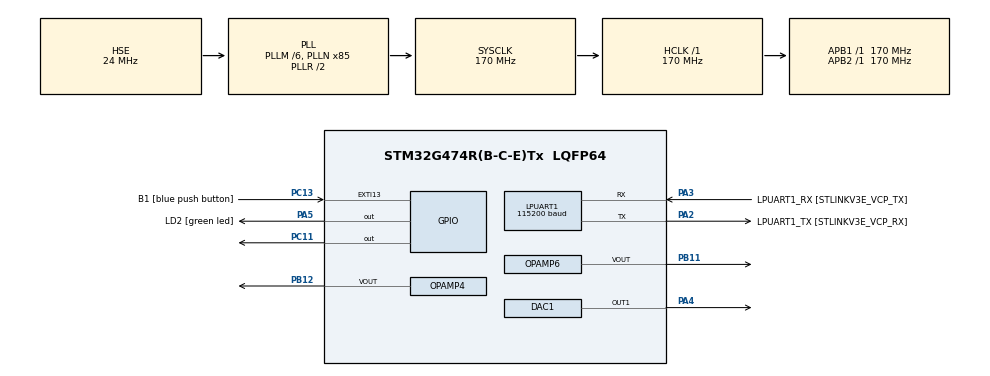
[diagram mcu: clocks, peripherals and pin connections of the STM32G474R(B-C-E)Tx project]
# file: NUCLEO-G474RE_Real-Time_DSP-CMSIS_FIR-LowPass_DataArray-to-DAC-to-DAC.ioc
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Mcu.Family=STM32G4
RCC.CortexFreq_Value=170000000
Dma.DAC3_CH1.0.Polarity=HAL_DMAMUX_REQ_GEN_RISING
Dma.DAC3_CH1.0.MemInc=DMA_MINC_ENABLE
PA14.GPIO_Label=T_SWCLK
Dma.DAC3_CH1.0.PeriphInc=DMA_PINC_DISABLE
LPUART1.WordLength=UART_WORDLENGTH_8B
PC13.GPIO_Label=B1 [blue push button]
PB11.Signal=OPAMP6_VOUT
RCC.SYSCLKSource=RCC_SYSCLKSOURCE_PLLCLK
ProjectManager.StackSize=0x400
Dma.DAC3_CH1.0.MemDataAlignment=DMA_MDATAALIGN_WORD
Dma.DAC3_CH1.0.SyncPolarity=HAL_DMAMUX_SYNC_NO_EVENT
Dma.DAC3_CH1.0.SyncEnable=DISABLE
HRTIM1.NumberInterruptRequests_Master-MasterTimer=1
HRTIM1.Periode_MASTER=54400
RCC.HCLKFreq_Value=170000000
RCC.APB2TimFreq_Value=170000000
DAC3.DAC_Trigger_OUT1-DAC_OUT1_Int=DAC_TRIGGER_T6_TRGO
RCC.AHBFreq_Value=170000000
VP_HRTIM1_VS_hrtimMasterTimerNoOutput.Mode=MasterTimer
NVIC.EXTI15_10_IRQn=true\:0\:0\:false\:false\:true\:true\:true
RCC.HSE_VALUE=24000000
PB3.Mode=Trace_Asynchronous_SW
OPAMP6.PowerMode=OPAMP_POWERMODE_HIGHSPEED
RCC.ADC12Freq_Value=170000000
RCC.RTCClockSelection=RCC_RTCCLKSOURCE_LSE
VP_DAC3_VS_DACI1.Mode=DAC_OUT1_Int
PC14-OSC32_IN.Mode=LSE-External-Oscillator
PA14.Mode=Trace_Asynchronous_SW
HRTIM1.PrescalerRatio_MASTER=HRTIM_PRESCALERRATIO_MUL16
VP_SYS_VS_DBSignals.Mode=DisableDeadBatterySignals
OPAMP4.PowerMode=OPAMP_POWERMODE_HIGHSPEED
Mcu.Package=LQFP64
PB12.Mode=Follower-DAC_OUT2-INP
Dma.DAC3_CH1.0.Mode=DMA_CIRCULAR
DAC1.DAC_HighFrequency_OUT1-DAC_OUT1=DAC_HIGH_FREQUENCY_INTERFACE_MODE_ABOVE_160MHZ
TIM6.PeriodNoDither=5-1
PA2.GPIO_Label=LPUART1_TX [STLINKV3E_VCP_RX]
RCC.APB1TimFreq_Value=170000000
HRTIM1.InterruptRequests1_Master=HRTIM_MASTER_IT_MREP
PF1-OSC_OUT.Mode=HSE-External-Oscillator
Dma.Request0=DAC3_CH1
PF1-OSC_OUT.Signal=RCC_OSC_OUT
RCC.HSI48_VALUE=48000000
PA3.Signal=LPUART1_RX
PB3.GPIO_Label=T_SWO
RCC.PLLSourceVirtual=RCC_PLLSOURCE_HSE
PC15-OSC32_OUT.Mode=LSE-External-Oscillator
PC13.Signal=GPXTI13
PC11.Signal=GPIO_Output
TIM6.Prescaler=17-1
VP_TIM6_VS_ClockSourceINT.Mode=Enable_Timer
RCC.EXTERNAL_CLOCK_VALUE=12288000
PC14-OSC32_IN.Signal=RCC_OSC32_IN
Dma.DAC3_CH1.0.Instance=DMA1_Channel1
PA13.Signal=SYS_JTMS-SWDIO
PA3.Mode=Asynchronous
Dma.DAC3_CH1.0.Direction=DMA_MEMORY_TO_PERIPH
DAC4.DAC_HighFrequency_OUT1-DAC_OUT1_Int=DAC_HIGH_FREQUENCY_INTERFACE_MODE_ABOVE_160MHZ
PB11.Mode=Follower-DAC_OUT2-INP
HRTIM1.RepetitionUpdate-MasterTimer=HRTIM_UPDATEONREPETITION_DISABLED
ProjectManager.TargetToolchain=STM32CubeIDE
SH.COMP_DAC11_group.0=DAC1_OUT1,DAC_OUT1
VP_DAC4_VS_DACI1.Mode=DAC_OUT1_Int
RCC.USBFreq_Value=170000000
PC15-OSC32_OUT.Signal=RCC_OSC32_OUT
PF0-OSC_IN.Mode=HSE-External-Oscillator
Dma.DAC3_CH1.0.EventEnable=DISABLE
PA5.Signal=GPIO_Output
Dma.DAC3_CH1.0.SyncRequestNumber=1
board=NUCLEO-G474RE
NVIC.HRTIM1_Master_IRQn=true\:0\:0\:false\:false\:true\:true\:true
RCC.VCOOutputFreq_Value=340000000
RCC.ADC345Freq_Value=170000000
RCC.APB2Freq_Value=170000000
TIM6.TIM_MasterOutputTrigger=TIM_TRGO_UPDATE
Dma.DAC3_CH1.0.SignalID=NONE
PA13.Mode=Trace_Asynchronous_SW
Mcu.Name=STM32G474R(B-C-E)Tx
LPUART1.BaudRate=115200
PA13.GPIO_Label=T_SWDIO
PA2.Signal=LPUART1_TX
Dma.DAC3_CH1.0.PeriphDataAlignment=DMA_PDATAALIGN_WORD
Dma.DAC3_CH1.0.Priority=DMA_PRIORITY_HIGH
PB3.Signal=SYS_JTDO-SWO
PA4.Signal=COMP_DAC11_group
RCC.SYSCLKFreq_VALUE=170000000
DAC3.DAC_HighFrequency_OUT1-DAC_OUT1_Int=DAC_HIGH_FREQUENCY_INTERFACE_MODE_ABOVE_160MHZ
PA5.GPIO_Label=LD2 [green led]
Dma.DAC3_CH1.0.RequestNumber=1
PA14.Signal=SYS_JTCK-SWCLK
ProjectManager.HeapSize=0x200
RCC.HSI_VALUE=16000000
NVIC.PriorityGroup=NVIC_PRIORITYGROUP_4
RCC.PLLM=RCC_PLLM_DIV6
RCC.PLLN=85
Dma.DAC3_CH1.0.SyncSignalID=NONE
PA2.Mode=Asynchronous
NVIC.DMA1_Channel1_IRQn=true\:0\:0\:false\:false\:true\:false\:true
PF0-OSC_IN.Signal=RCC_OSC_IN
RCC.APB1Freq_Value=170000000
PB12.Signal=OPAMP4_VOUT
PA3.GPIO_Label=LPUART1_RX [STLINKV3E_VCP_TX]

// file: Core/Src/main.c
/* USER CODE BEGIN Header */
/**
  ******************************************************************************
  * @file           : main.c
  * @brief          : Main program body
  ******************************************************************************
  * @attention
  *
  * <h2><center>&copy; Copyright (c) 2021 STMicroelectronics.
  * All rights reserved.</center></h2>
  *
  * This software component is licensed by ST under BSD 3-Clause license,
  * the "License"; You may not use this file except in compliance with the
  * License. You may obtain a copy of the License at:
  *                        opensource.org/licenses/BSD-3-Clause
  *
  ******************************************************************************
  */
/* USER CODE END Header */
#include "main.h"

/* USER CODE BEGIN Includes */

#include "waveforms.h"
#include "arm_math.h"

/* USER CODE END Includes */

/* USER CODE BEGIN PTD */

arm_fir_instance_f32 FIR_F32_Struct;

/* USER CODE END PTD */

/* USER CODE BEGIN PD */

#define ARM_MATH_CM4

/* USER CODE END PD */

DAC_HandleTypeDef hdac1;
DAC_HandleTypeDef hdac3;
DAC_HandleTypeDef hdac4;
DMA_HandleTypeDef hdma_dac3_ch1;

HRTIM_HandleTypeDef hhrtim1;

UART_HandleTypeDef hlpuart1;

OPAMP_HandleTypeDef hopamp4;
OPAMP_HandleTypeDef hopamp6;

TIM_HandleTypeDef htim6;

/* USER CODE BEGIN PV */

uint32_t CPU_Freq, HR_Master_mul, HRTIM_Master_per, HRTIM_Master_Freq;
uint32_t TIM6_PSC, TIM6_ARR, TIM6_Freq;

uint32_t sampling_rate, sampling_pt_cntr;
//int16_t sampling_pt;
q15_t sampling_pt;

arm_fir_instance_q15 FIR_Q15_Struct;
q15_t Q15_FIR_Output, firStateQ15[NUM_FIR_TAPS_Q15 + Sample_SIZE];

/* USER CODE END PV */

void SystemClock_Config(void);
static void MX_GPIO_Init(void);
static void MX_DMA_Init(void);
static void MX_LPUART1_UART_Init(void);
static void MX_TIM6_Init(void);
static void MX_DAC3_Init(void);
static void MX_OPAMP6_Init(void);
static void MX_DAC4_Init(void);
static void MX_OPAMP4_Init(void);
static void MX_HRTIM1_Init(void);
static void MX_DAC1_Init(void);
/* USER CODE BEGIN PFP */

void VT_AppendData_CMSIS(void);
void VT_HRTIM_Master_FreqCalc(void);

/* USER CODE END PFP */

int main(void)
{

  /* MCU Configuration--------------------------------------------------------*/

  /* Reset of all peripherals, Initializes the Flash interface and the Systick. */
  HAL_Init();

  /* Configure the system clock */
  SystemClock_Config();

  /* Initialize all configured peripherals */
  MX_GPIO_Init();
  MX_DMA_Init();
  MX_LPUART1_UART_Init();
  MX_TIM6_Init();
  MX_DAC3_Init();
  MX_OPAMP6_Init();
  MX_DAC4_Init();
  MX_OPAMP4_Init();
  MX_HRTIM1_Init();
  MX_DAC1_Init();
  /* USER CODE BEGIN 2 */

  CPU_Freq = HAL_RCC_GetHCLKFreq();

  VT_HRTIM_Master_FreqCalc();

  TIM6_Freq = CPU_Freq / (TIM6_PSC * TIM6_ARR);

  if ((TIM6_Freq % HRTIM_Master_Freq) != 0)
  {
	  Error_Handler();
  }

  sampling_rate = TIM6_Freq / HRTIM_Master_Freq;

  for (uint16_t cntr = 0; cntr < MySine2000_SIZE; cntr++)
  {
  	MySine2000[cntr] += 682;
  	MySine2000[cntr] += MySine200[cntr % MySine200_SIZE];
  }

  /**
   * @brief  Initialization function for the Q15 FIR filter.
   * @param[in,out] S          points to an instance of the Q15 FIR filter structure.
   * @param[in]     numTaps    Number of filter coefficients in the filter. Must be even and greater than or equal to 4.
   * @param[in]     pCoeffs    points to the filter coefficients.
   * @param[in]     pState     points to the state buffer.
   * @param[in]     blockSize  number of samples that are processed at a time.
   * @return     The function returns either
   * <code>ARM_MATH_SUCCESS</code> if initialization was successful or
   * <code>ARM_MATH_ARGUMENT_ERROR</code> if <code>numTaps</code> is not a supported value.
   */
//  arm_status arm_fir_init_q15(
//        arm_fir_instance_q15 * S,
//        uint16_t numTaps,
//  const q15_t * pCoeffs,
//        q15_t * pState,
//        uint32_t blockSize);

  arm_fir_init_q15(&FIR_Q15_Struct, 6, aFilterCoeffB, firStateQ15, Sample_SIZE); // https://arm-software.github.io/CMSIS_5/DSP/html/group__FIR.html#gaf4bfa7e20520f3b6e9f03a52ad6d0e41

	/*##- Enable DAC Channel and associated DMA ##############################*/
	if(HAL_OK != HAL_DAC_Start_DMA(&hdac3, DAC_CHANNEL_1,
				   (uint32_t*)MySine2000, MySine2000_SIZE, DAC_ALIGN_12B_R))
	{
		/* Start DMA Error */
		Error_Handler();
	}

	/*##- Start OPAMP    #####################################################*/
	/* Enable OPAMP */
	if(HAL_OK != HAL_OPAMP_Start(&hopamp6))
	{
		Error_Handler();
	}

	/*##- Enable DAC Channel ##############################*/
	if(HAL_OK != HAL_DAC_Start(&hdac4, DAC_CHANNEL_1))
	{
		/* Start Error */
		Error_Handler();
	}

	/*##- Start OPAMP    #####################################################*/
	/* Enable OPAMP */
	if(HAL_OK != HAL_OPAMP_Start(&hopamp4))
	{
		Error_Handler();
	}

	/*##- Enable DAC Channel ##############################*/
	if(HAL_OK != HAL_DAC_Start(&hdac1, DAC_CHANNEL_1))
	{
		/* Start Error */
		Error_Handler();
	}

  /*##- Enable TIM peripheral counter ######################################*/
  if(HAL_OK != HAL_TIM_Base_Start(&htim6))
  {
  	Error_Handler();
  }

  if(HAL_OK != HAL_HRTIM_WaveformCounterStart_IT(&hhrtim1, HRTIM_TIMERID_MASTER))
  {
  	Error_Handler();
  }

//  HAL_GPIO_WritePin(GPIOA, GPIO_PIN_5, SET);
  /* USER CODE END 2 */

  /* Infinite loop */
  while (1)
  {

  }
}

void SystemClock_Config(void)
{
  RCC_OscInitTypeDef RCC_OscInitStruct = {0};
  RCC_ClkInitTypeDef RCC_ClkInitStruct = {0};
  RCC_PeriphCLKInitTypeDef PeriphClkInit = {0};

  /** Configure the main internal regulator output voltage
  */
  HAL_PWREx_ControlVoltageScaling(PWR_REGULATOR_VOLTAGE_SCALE1_BOOST);
  /** Initializes the RCC Oscillators according to the specified parameters
  * in the RCC_OscInitTypeDef structure.
  */
  RCC_OscInitStruct.OscillatorType = RCC_OSCILLATORTYPE_HSE;
  RCC_OscInitStruct.HSEState = RCC_HSE_ON;
  RCC_OscInitStruct.PLL.PLLState = RCC_PLL_ON;
  RCC_OscInitStruct.PLL.PLLSource = RCC_PLLSOURCE_HSE;
  RCC_OscInitStruct.PLL.PLLM = RCC_PLLM_DIV6;
  RCC_OscInitStruct.PLL.PLLN = 85;
  RCC_OscInitStruct.PLL.PLLP = RCC_PLLP_DIV2;
  RCC_OscInitStruct.PLL.PLLQ = RCC_PLLQ_DIV2;
  RCC_OscInitStruct.PLL.PLLR = RCC_PLLR_DIV2;
  if (HAL_RCC_OscConfig(&RCC_OscInitStruct) != HAL_OK)
  {
    Error_Handler();
  }
  /** Initializes the CPU, AHB and APB buses clocks
  */
  RCC_ClkInitStruct.ClockType = RCC_CLOCKTYPE_HCLK|RCC_CLOCKTYPE_SYSCLK
                              |RCC_CLOCKTYPE_PCLK1|RCC_CLOCKTYPE_PCLK2;
  RCC_ClkInitStruct.SYSCLKSource = RCC_SYSCLKSOURCE_PLLCLK;
  RCC_ClkInitStruct.AHBCLKDivider = RCC_SYSCLK_DIV1;
  RCC_ClkInitStruct.APB1CLKDivider = RCC_HCLK_DIV1;
  RCC_ClkInitStruct.APB2CLKDivider = RCC_HCLK_DIV1;

  if (HAL_RCC_ClockConfig(&RCC_ClkInitStruct, FLASH_LATENCY_4) != HAL_OK)
  {
    Error_Handler();
  }
  /** Initializes the peripherals clocks
  */
  PeriphClkInit.PeriphClockSelection = RCC_PERIPHCLK_LPUART1;
  PeriphClkInit.Lpuart1ClockSelection = RCC_LPUART1CLKSOURCE_PCLK1;
  if (HAL_RCCEx_PeriphCLKConfig(&PeriphClkInit) != HAL_OK)
  {
    Error_Handler();
  }
}

static void MX_DAC1_Init(void)
{

  DAC_ChannelConfTypeDef sConfig = {0};

  /** DAC Initialization
  */
  hdac1.Instance = DAC1;
  if (HAL_DAC_Init(&hdac1) != HAL_OK)
  {
    Error_Handler();
  }
  /** DAC channel OUT1 config
  */
  sConfig.DAC_HighFrequency = DAC_HIGH_FREQUENCY_INTERFACE_MODE_ABOVE_160MHZ;
  sConfig.DAC_DMADoubleDataMode = DISABLE;
  sConfig.DAC_SignedFormat = DISABLE;
  sConfig.DAC_SampleAndHold = DAC_SAMPLEANDHOLD_DISABLE;
  sConfig.DAC_Trigger = DAC_TRIGGER_NONE;
  sConfig.DAC_Trigger2 = DAC_TRIGGER_NONE;
  sConfig.DAC_OutputBuffer = DAC_OUTPUTBUFFER_ENABLE;
  sConfig.DAC_ConnectOnChipPeripheral = DAC_CHIPCONNECT_EXTERNAL;
  sConfig.DAC_UserTrimming = DAC_TRIMMING_FACTORY;
  if (HAL_DAC_ConfigChannel(&hdac1, &sConfig, DAC_CHANNEL_1) != HAL_OK)
  {
    Error_Handler();
  }

}

static void MX_DAC3_Init(void)
{

  DAC_ChannelConfTypeDef sConfig = {0};

  /** DAC Initialization
  */
  hdac3.Instance = DAC3;
  if (HAL_DAC_Init(&hdac3) != HAL_OK)
  {
    Error_Handler();
  }
  /** DAC channel OUT1 config
  */
  sConfig.DAC_HighFrequency = DAC_HIGH_FREQUENCY_INTERFACE_MODE_ABOVE_160MHZ;
  sConfig.DAC_DMADoubleDataMode = DISABLE;
  sConfig.DAC_SignedFormat = DISABLE;
  sConfig.DAC_SampleAndHold = DAC_SAMPLEANDHOLD_DISABLE;
  sConfig.DAC_Trigger = DAC_TRIGGER_T6_TRGO;
  sConfig.DAC_Trigger2 = DAC_TRIGGER_NONE;
  sConfig.DAC_OutputBuffer = DAC_OUTPUTBUFFER_DISABLE;
  sConfig.DAC_ConnectOnChipPeripheral = DAC_CHIPCONNECT_INTERNAL;
  sConfig.DAC_UserTrimming = DAC_TRIMMING_FACTORY;
  if (HAL_DAC_ConfigChannel(&hdac3, &sConfig, DAC_CHANNEL_1) != HAL_OK)
  {
    Error_Handler();
  }

}

static void MX_DAC4_Init(void)
{

  DAC_ChannelConfTypeDef sConfig = {0};

  /** DAC Initialization
  */
  hdac4.Instance = DAC4;
  if (HAL_DAC_Init(&hdac4) != HAL_OK)
  {
    Error_Handler();
  }
  /** DAC channel OUT1 config
  */
  sConfig.DAC_HighFrequency = DAC_HIGH_FREQUENCY_INTERFACE_MODE_ABOVE_160MHZ;
  sConfig.DAC_DMADoubleDataMode = DISABLE;
  sConfig.DAC_SignedFormat = DISABLE;
  sConfig.DAC_SampleAndHold = DAC_SAMPLEANDHOLD_DISABLE;
  sConfig.DAC_Trigger = DAC_TRIGGER_NONE;
  sConfig.DAC_Trigger2 = DAC_TRIGGER_NONE;
  sConfig.DAC_OutputBuffer = DAC_OUTPUTBUFFER_DISABLE;
  sConfig.DAC_ConnectOnChipPeripheral = DAC_CHIPCONNECT_INTERNAL;
  sConfig.DAC_UserTrimming = DAC_TRIMMING_FACTORY;
  if (HAL_DAC_ConfigChannel(&hdac4, &sConfig, DAC_CHANNEL_1) != HAL_OK)
  {
    Error_Handler();
  }

}

static void MX_HRTIM1_Init(void)
{

  HRTIM_TimeBaseCfgTypeDef pTimeBaseCfg = {0};
  HRTIM_TimerCfgTypeDef pTimerCfg = {0};

  hhrtim1.Instance = HRTIM1;
  hhrtim1.Init.HRTIMInterruptResquests = HRTIM_IT_NONE;
  hhrtim1.Init.SyncOptions = HRTIM_SYNCOPTION_NONE;
  if (HAL_HRTIM_Init(&hhrtim1) != HAL_OK)
  {
    Error_Handler();
  }
  if (HAL_HRTIM_DLLCalibrationStart(&hhrtim1, HRTIM_CALIBRATIONRATE_3) != HAL_OK)
  {
    Error_Handler();
  }
  if (HAL_HRTIM_PollForDLLCalibration(&hhrtim1, 10) != HAL_OK)
  {
    Error_Handler();
  }
  pTimeBaseCfg.Period = 54400;
  pTimeBaseCfg.RepetitionCounter = 0x00;
  pTimeBaseCfg.PrescalerRatio = HRTIM_PRESCALERRATIO_MUL16;
  pTimeBaseCfg.Mode = HRTIM_MODE_CONTINUOUS;
  if (HAL_HRTIM_TimeBaseConfig(&hhrtim1, HRTIM_TIMERINDEX_MASTER, &pTimeBaseCfg) != HAL_OK)
  {
    Error_Handler();
  }
  pTimerCfg.InterruptRequests = HRTIM_MASTER_IT_MREP;
  pTimerCfg.DMARequests = HRTIM_MASTER_DMA_NONE;
  pTimerCfg.DMASrcAddress = 0x0000;
  pTimerCfg.DMADstAddress = 0x0000;
  pTimerCfg.DMASize = 0x1;
  pTimerCfg.HalfModeEnable = HRTIM_HALFMODE_DISABLED;
  pTimerCfg.InterleavedMode = HRTIM_INTERLEAVED_MODE_DISABLED;
  pTimerCfg.StartOnSync = HRTIM_SYNCSTART_DISABLED;
  pTimerCfg.ResetOnSync = HRTIM_SYNCRESET_DISABLED;
  pTimerCfg.DACSynchro = HRTIM_DACSYNC_NONE;
  pTimerCfg.PreloadEnable = HRTIM_PRELOAD_DISABLED;
  pTimerCfg.UpdateGating = HRTIM_UPDATEGATING_INDEPENDENT;
  pTimerCfg.BurstMode = HRTIM_TIMERBURSTMODE_MAINTAINCLOCK;
  pTimerCfg.RepetitionUpdate = HRTIM_UPDATEONREPETITION_DISABLED;
  pTimerCfg.ReSyncUpdate = HRTIM_TIMERESYNC_UPDATE_UNCONDITIONAL;

  if (HAL_HRTIM_WaveformTimerConfig(&hhrtim1, HRTIM_TIMERINDEX_MASTER, &pTimerCfg) != HAL_OK)
  {
    Error_Handler();
  }

}

static void MX_LPUART1_UART_Init(void)
{

  hlpuart1.Instance = LPUART1;
  hlpuart1.Init.BaudRate = 115200;
  hlpuart1.Init.WordLength = UART_WORDLENGTH_8B;
  hlpuart1.Init.StopBits = UART_STOPBITS_1;
  hlpuart1.Init.Parity = UART_PARITY_NONE;
  hlpuart1.Init.Mode = UART_MODE_TX_RX;
  hlpuart1.Init.HwFlowCtl = UART_HWCONTROL_NONE;
  hlpuart1.Init.OneBitSampling = UART_ONE_BIT_SAMPLE_DISABLE;
  hlpuart1.Init.ClockPrescaler = UART_PRESCALER_DIV1;
  hlpuart1.AdvancedInit.AdvFeatureInit = UART_ADVFEATURE_NO_INIT;
  if (HAL_UART_Init(&hlpuart1) != HAL_OK)
  {
    Error_Handler();
  }
  if (HAL_UARTEx_SetTxFifoThreshold(&hlpuart1, UART_TXFIFO_THRESHOLD_1_8) != HAL_OK)
  {
    Error_Handler();
  }
  if (HAL_UARTEx_SetRxFifoThreshold(&hlpuart1, UART_RXFIFO_THRESHOLD_1_8) != HAL_OK)
  {
    Error_Handler();
  }
  if (HAL_UARTEx_DisableFifoMode(&hlpuart1) != HAL_OK)
  {
    Error_Handler();
  }

}

static void MX_OPAMP4_Init(void)
{

  hopamp4.Instance = OPAMP4;
  hopamp4.Init.PowerMode = OPAMP_POWERMODE_HIGHSPEED;
  hopamp4.Init.Mode = OPAMP_FOLLOWER_MODE;
  hopamp4.Init.NonInvertingInput = OPAMP_NONINVERTINGINPUT_DAC;
  hopamp4.Init.InternalOutput = DISABLE;
  hopamp4.Init.TimerControlledMuxmode = OPAMP_TIMERCONTROLLEDMUXMODE_DISABLE;
  hopamp4.Init.UserTrimming = OPAMP_TRIMMING_FACTORY;
  if (HAL_OPAMP_Init(&hopamp4) != HAL_OK)
  {
    Error_Handler();
  }

}

static void MX_OPAMP6_Init(void)
{

  hopamp6.Instance = OPAMP6;
  hopamp6.Init.PowerMode = OPAMP_POWERMODE_HIGHSPEED;
  hopamp6.Init.Mode = OPAMP_FOLLOWER_MODE;
  hopamp6.Init.NonInvertingInput = OPAMP_NONINVERTINGINPUT_DAC;
  hopamp6.Init.InternalOutput = DISABLE;
  hopamp6.Init.TimerControlledMuxmode = OPAMP_TIMERCONTROLLEDMUXMODE_DISABLE;
  hopamp6.Init.UserTrimming = OPAMP_TRIMMING_FACTORY;
  if (HAL_OPAMP_Init(&hopamp6) != HAL_OK)
  {
    Error_Handler();
  }

}

static void MX_TIM6_Init(void)
{

  TIM_MasterConfigTypeDef sMasterConfig = {0};

  htim6.Instance = TIM6;
  htim6.Init.Prescaler = 17-1;
  htim6.Init.CounterMode = TIM_COUNTERMODE_UP;
  htim6.Init.Period = 4;
  htim6.Init.AutoReloadPreload = TIM_AUTORELOAD_PRELOAD_DISABLE;
  if (HAL_TIM_Base_Init(&htim6) != HAL_OK)
  {
    Error_Handler();
  }
  sMasterConfig.MasterOutputTrigger = TIM_TRGO_UPDATE;
  sMasterConfig.MasterSlaveMode = TIM_MASTERSLAVEMODE_DISABLE;
  if (HAL_TIMEx_MasterConfigSynchronization(&htim6, &sMasterConfig) != HAL_OK)
  {
    Error_Handler();
  }
  /* USER CODE BEGIN TIM6_Init 2 */

  TIM6_PSC = htim6.Init.Prescaler + 1;

  TIM6_ARR = htim6.Init.Period + 1;

  /* USER CODE END TIM6_Init 2 */

}

static void MX_DMA_Init(void)
{

  /* DMA controller clock enable */
  __HAL_RCC_DMAMUX1_CLK_ENABLE();
  __HAL_RCC_DMA1_CLK_ENABLE();

  /* DMA interrupt init */
  /* DMA1_Channel1_IRQn interrupt configuration */
  HAL_NVIC_SetPriority(DMA1_Channel1_IRQn, 0, 0);
  HAL_NVIC_EnableIRQ(DMA1_Channel1_IRQn);

}

static void MX_GPIO_Init(void)
{
  GPIO_InitTypeDef GPIO_InitStruct = {0};

  /* GPIO Ports Clock Enable */
  __HAL_RCC_GPIOC_CLK_ENABLE();
  __HAL_RCC_GPIOF_CLK_ENABLE();
  __HAL_RCC_GPIOA_CLK_ENABLE();
  __HAL_RCC_GPIOB_CLK_ENABLE();

  /*Configure GPIO pin Output Level */
  HAL_GPIO_WritePin(LD2_GPIO_Port, LD2_Pin, GPIO_PIN_RESET);

  /*Configure GPIO pin Output Level */
  HAL_GPIO_WritePin(GPIOC, GPIO_PIN_11, GPIO_PIN_RESET);

  /*Configure GPIO pin : B1_Pin */
  GPIO_InitStruct.Pin = B1_Pin;
  GPIO_InitStruct.Mode = GPIO_MODE_IT_RISING;
  GPIO_InitStruct.Pull = GPIO_NOPULL;
  HAL_GPIO_Init(B1_GPIO_Port, &GPIO_InitStruct);

  /*Configure GPIO pin : LD2_Pin */
  GPIO_InitStruct.Pin = LD2_Pin;
  GPIO_InitStruct.Mode = GPIO_MODE_OUTPUT_PP;
  GPIO_InitStruct.Pull = GPIO_NOPULL;
  GPIO_InitStruct.Speed = GPIO_SPEED_FREQ_LOW;
  HAL_GPIO_Init(LD2_GPIO_Port, &GPIO_InitStruct);

  /*Configure GPIO pin : PC11 */
  GPIO_InitStruct.Pin = GPIO_PIN_11;
  GPIO_InitStruct.Mode = GPIO_MODE_OUTPUT_PP;
  GPIO_InitStruct.Pull = GPIO_NOPULL;
  GPIO_InitStruct.Speed = GPIO_SPEED_FREQ_LOW;
  HAL_GPIO_Init(GPIOC, &GPIO_InitStruct);

  /* EXTI interrupt init*/
  HAL_NVIC_SetPriority(EXTI15_10_IRQn, 0, 0);
  HAL_NVIC_EnableIRQ(EXTI15_10_IRQn);

}

/* USER CODE BEGIN 4 */

void VT_AppendData_CMSIS(void)
{
	HAL_GPIO_TogglePin(GPIOC, GPIO_PIN_11);

//	sampling_pt = MySine2000[(sampling_pt_cntr += sampling_rate) % MySine2000_SIZE]; // sampling_pt_cntr will over flow

	sampling_pt = MySine2000[sampling_pt_cntr = (sampling_pt_cntr + sampling_rate) % MySine2000_SIZE];

	HAL_DAC_SetValue(&hdac4, DAC_CHANNEL_1, DAC_ALIGN_12B_R, sampling_pt);

	/**
	* @brief Processing function for the Q15 FIR filter.
	* @param[in]  S          points to an instance of the Q15 FIR structure.
	* @param[in]  pSrc       points to the block of input data.
	* @param[out] pDst       points to the block of output data.
	* @param[in]  blockSize  number of samples to process.
	*/
//	void arm_fir_q15(
//	const arm_fir_instance_q15 * S,
//	const q15_t * pSrc,
//		q15_t * pDst,
//		uint32_t blockSize);

	arm_fir_q15(&FIR_Q15_Struct, &sampling_pt, &Q15_FIR_Output, 1);

	HAL_DAC_SetValue(&hdac1, DAC_CHANNEL_1, DAC_ALIGN_12B_R, Q15_FIR_Output);

//	HAL_GPIO_WritePin(GPIOA, GPIO_PIN_5, SET);
}

void VT_HRTIM_Master_FreqCalc(void)
{
	HR_Master_mul = pow(2,(0x00000007 & HRTIM1->sMasterRegs.MCR)); // Master Tim multiplier, it is reversed HR_Master_mul = 2^PSC
	HRTIM_Master_per = HRTIM1->sMasterRegs.MPER;
	HRTIM_Master_Freq = (((uint64_t) CPU_Freq * 32 ) / HR_Master_mul) / HRTIM_Master_per;
}

/* USER CODE END 4 */

void Error_Handler(void)
{
  /* USER CODE BEGIN Error_Handler_Debug */
  /* User can add his own implementation to report the HAL error return state */
  __disable_irq();
//  HAL_GPIO_WritePin(GPIOA, GPIO_PIN_5, SET);
  while (1)
  {
  }
  /* USER CODE END Error_Handler_Debug */
}

/************************ (C) COPYRIGHT STMicroelectronics *****END OF FILE****/
